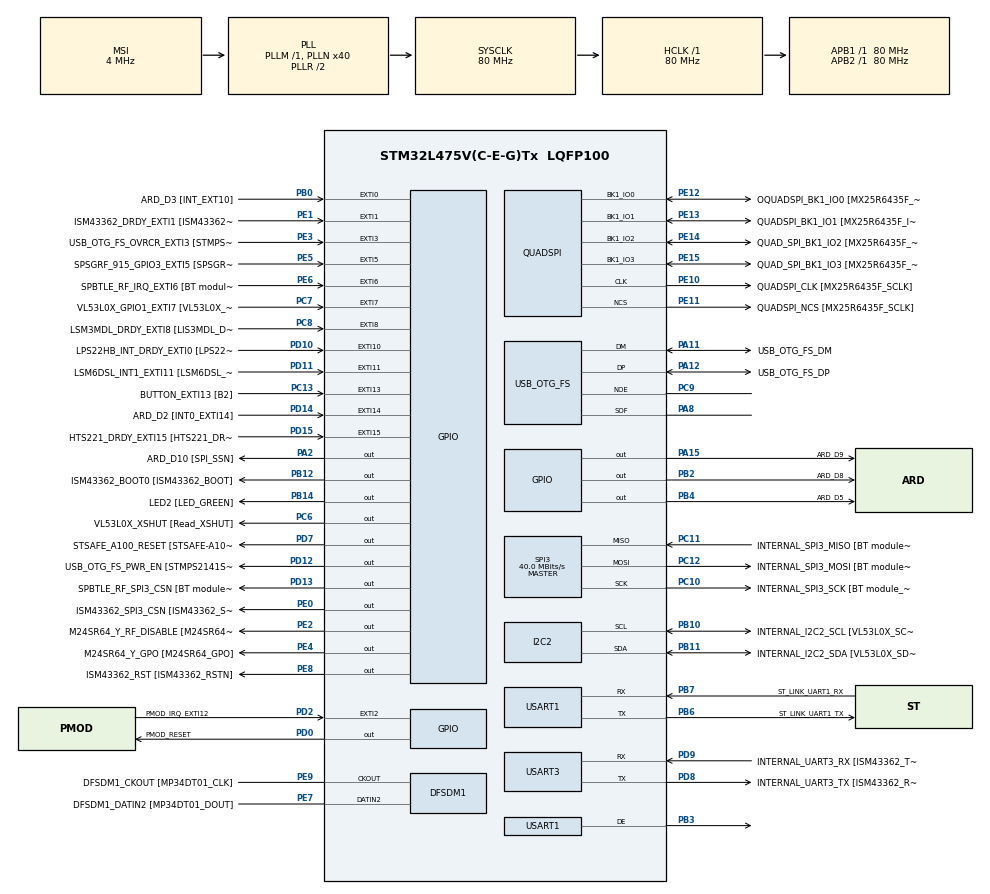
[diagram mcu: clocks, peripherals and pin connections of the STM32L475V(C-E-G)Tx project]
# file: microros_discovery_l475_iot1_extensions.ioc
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FREERTOS.Tasks01=defaultTask,24,3000,StartDefaultTask,Default,NULL,Static,defaultTaskBuffer,defaultTaskControlBlock
I2C2.Timing=0x10909CEC
Mcu.Family=STM32L4
Mcu.Name=STM32L475V(C-E-G)Tx
Mcu.Package=LQFP100
NVIC.EXTI15_10_IRQn=true\:5\:0\:false\:false\:true\:true\:true\:true\:true
NVIC.EXTI9_5_IRQn=true\:5\:0\:false\:false\:true\:true\:true\:true\:true
NVIC.PriorityGroup=NVIC_PRIORITYGROUP_4
NVIC.TIM1_UP_TIM16_IRQn=true\:15\:0\:false\:false\:true\:false\:false\:true\:true
NVIC.TimeBase=TIM1_UP_TIM16_IRQn
NVIC.TimeBaseIP=TIM1
PA0.GPIO_Label=ARD_D1 [UART4_TX]
PA0.Signal=UART4_TX
PA1.GPIO_Label=ARD_D0 [UART4_RX]
PA1.Signal=UART4_RX
PA10.GPIO_Label=USB_OTG_FS_ID
PA10.Signal=USB_OTG_FS_ID
PA11.GPIO_Label=USB_OTG_FS_DM
PA11.Mode=Device_Only
PA11.Signal=USB_OTG_FS_DM
PA12.GPIO_Label=USB_OTG_FS_DP
PA12.Mode=Device_Only
PA12.Signal=USB_OTG_FS_DP
PA13\ (JTMS-SWDIO).GPIO_Label=SYS_JTMS_SWDIO
PA13\ (JTMS-SWDIO).Mode=Serial_Wire
PA13\ (JTMS-SWDIO).Signal=SYS_JTMS-SWDIO
PA14\ (JTCK-SWCLK).GPIO_Label=SYS_JTCK_SWCLK
PA14\ (JTCK-SWCLK).Mode=Serial_Wire
PA14\ (JTCK-SWCLK).Signal=SYS_JTCK-SWCLK
PA15\ (JTDI).GPIO_Label=ARD_D9
PA15\ (JTDI).Signal=GPIO_Output
PA2.GPIO_Label=ARD_D10 [SPI_SSN]
PA2.Signal=GPIO_Output
PA3.GPIO_Label=ARD_D4
PA3.Signal=S_TIM2_CH4
PA4.GPIO_Label=ARD_D7
PA4.Signal=ADCx_IN9
PA5.GPIO_Label=ARD_D13 [SPI1_SCK]
PA5.Signal=SPI1_SCK
PA6.GPIO_Label=ARD_D12 [SPI1_MISO]
PA6.Signal=SPI1_MISO
PA7.GPIO_Label=ARD_D11 [SPI1_MOSI]
PA7.Signal=SPI1_MOSI
PA8.Mode=Activate_SOF_FS
PA8.Signal=USB_OTG_FS_SOF
PA9.GPIO_Label=USB_OTG_FS_VBUS [STMPS2141STR_OUT]
PA9.Signal=USB_OTG_FS_VBUS
PB0.GPIO_Label=ARD_D3 [INT_EXT10]
PB0.Signal=GPXTI0
PB1.GPIO_Label=ARD_D6 [ADC1_IN6]
PB1.Signal=ADCx_IN16
PB10.GPIO_Label=INTERNAL_I2C2_SCL [VL53L0X_SCL]
PB10.GPIO_Pu=GPIO_PULLUP
PB10.Mode=I2C
PB10.Signal=I2C2_SCL
PB11.GPIO_Label=INTERNAL_I2C2_SDA [VL53L0X_SDA]
PB11.GPIO_Pu=GPIO_PULLUP
PB11.Mode=I2C
PB11.Signal=I2C2_SDA
PB12.GPIO_Label=ISM43362_BOOT0 [ISM43362_BOOT]
PB12.Signal=GPIO_Output
PB13.Signal=TIM15_CH1N
PB14.GPIO_Label=LED2 [LED_GREEN]
PB14.Signal=GPIO_Output
PB15.Signal=S_TIM15_CH2
PB2.GPIO_Label=ARD_D8
PB2.Signal=GPIO_Output
PB3\ (JTDO-TRACESWO).Mode=Hardware Flow Control (RS485)
PB3\ (JTDO-TRACESWO).Signal=USART1_DE
PB4\ (NJTRST).GPIO_Label=ARD_D5
PB4\ (NJTRST).Signal=GPIO_Output
PB5.Signal=USART1_CK
PB6.GPIO_Label=ST_LINK_UART1_TX
PB6.Mode=Asynchronous
PB6.Signal=USART1_TX
PB7.GPIO_Label=ST_LINK_UART1_RX
PB7.Mode=Asynchronous
PB7.Signal=USART1_RX
PB8.GPIO_Label=ARD_D15 [I2C1_SCL]
PB8.Signal=I2C1_SCL
PB9.GPIO_Label=ARD_D14 [I2C1_SDA]
PB9.Signal=I2C1_SDA
PC0.GPIO_Label=ARD_A5 [ADC]
PC0.Signal=ADCx_IN1
PC1.GPIO_Label=ARD_A4 [ADC]
PC1.Signal=ADCx_IN2
PC10.GPIO_Label=INTERNAL_SPI3_SCK [BT module_SPI_SCLK] [ISM43362_SCK]
PC10.Mode=Full_Duplex_Master
PC10.Signal=SPI3_SCK
PC11.GPIO_Label=INTERNAL_SPI3_MISO [BT module_SPI_MISO] [ISM43362_MISO]
PC11.Mode=Full_Duplex_Master
PC11.Signal=SPI3_MISO
PC12.GPIO_Label=INTERNAL_SPI3_MOSI [BT module_SPI_MOSI] [ISM43362_MOSI]
PC12.Mode=Full_Duplex_Master
PC12.Signal=SPI3_MOSI
PC13.GPIO_Label=BUTTON_EXTI13 [B2]
PC13.GPIO_ModeDefaultEXTI=GPIO_MODE_IT_FALLING
PC13.Signal=GPXTI13
PC14-OSC32_IN\ (PC14).Mode=LSE-External-Oscillator
PC14-OSC32_IN\ (PC14).Signal=RCC_OSC32_IN
PC15-OSC32_OUT\ (PC15).Mode=LSE-External-Oscillator
PC15-OSC32_OUT\ (PC15).Signal=RCC_OSC32_OUT
PC2.GPIO_Label=ARD_A3 [ADC]
PC2.Signal=ADCx_IN3
PC3.GPIO_Label=ARD_A2 [ADC]
PC3.Signal=ADCx_IN4
PC4.GPIO_Label=ARD_A1 [ADC]
PC4.Signal=ADCx_IN13
PC5.GPIO_Label=ARD_A0 [ADC]
PC5.Signal=ADCx_IN14
PC6.GPIO_Label=VL53L0X_XSHUT [Read_XSHUT]
PC6.Signal=GPIO_Output
PC7.GPIO_Label=VL53L0X_GPIO1_EXTI7 [VL53L0X_GPIO1]
PC7.Signal=GPXTI7
PC8.GPIO_Label=LSM3MDL_DRDY_EXTI8 [LIS3MDL_DRDY]
PC8.Signal=GPXTI8
PC9.Mode=Activate_NOE
PC9.Signal=USB_OTG_FS_NOE
PD0.GPIO_Label=PMOD_RESET
PD0.Signal=GPIO_Output
PD1.GPIO_Label=PMOD_SPI2_SCK
PD1.Signal=SPI2_SCK
PD10.GPIO_Label=LPS22HB_INT_DRDY_EXTI0 [LPS22HB_INT_DRDY] 
PD10.Signal=GPXTI10
PD11.GPIO_Label=LSM6DSL_INT1_EXTI11 [LSM6DSL_INT1]
PD11.Signal=GPXTI11
PD12.GPIO_Label=USB_OTG_FS_PWR_EN [STMPS2141STR_EN]
PD12.Signal=GPIO_Output
PD13.GPIO_Label=SPBTLE_RF_SPI3_CSN [BT module_SPI_CS]
PD13.PinState=GPIO_PIN_SET
PD13.Signal=GPIO_Output
PD14.GPIO_Label=ARD_D2 [INT0_EXTI14]
PD14.Signal=GPXTI14
PD15.GPIO_Label=HTS221_DRDY_EXTI15 [HTS221_DRDY]
PD15.Signal=GPXTI15
PD2.GPIO_Label=PMOD_IRQ_EXTI12
PD2.Signal=GPXTI2
PD3.GPIO_Label=PMOD_UART2_CTS
PD3.Signal=USART2_CTS
PD4.GPIO_Label=PMOD_UART2_RTS
PD4.Signal=USART2_RTS
PD5.GPIO_Label=PMOD_UART2_TX
PD5.Signal=USART2_TX
PD6.GPIO_Label=PMOD_UART2_RX
PD6.Signal=USART2_RX
PD7.GPIO_Label=STSAFE_A100_RESET [STSAFE-A100_RESET]
PD7.Signal=GPIO_Output
PD8.GPIO_Label=INTERNAL_UART3_TX [ISM43362_RX]
PD8.Mode=Asynchronous
PD8.Signal=USART3_TX
PD9.GPIO_Label=INTERNAL_UART3_RX [ISM43362_TX]
PD9.Mode=Asynchronous
PD9.Signal=USART3_RX
PE0.GPIO_Label=ISM43362_SPI3_CSN [ISM43362_SSN]
PE0.PinState=GPIO_PIN_SET
PE0.Signal=GPIO_Output
PE1.GPIO_Label=ISM43362_DRDY_EXTI1 [ISM43362_DATARDY]
PE1.Signal=GPXTI1
PE10.GPIO_Label=QUADSPI_CLK [MX25R6435F_SCLK]
PE10.Mode=Single Bank
PE10.Signal=QUADSPI_CLK
PE11.GPIO_Label=QUADSPI_NCS [MX25R6435F_SCLK]
PE11.Mode=Single Bank
PE11.Signal=QUADSPI_NCS
PE12.GPIO_Label=OQUADSPI_BK1_IO0 [MX25R6435F_IO0]
PE12.Mode=Single Bank
PE12.Signal=QUADSPI_BK1_IO0
PE13.GPIO_Label=QUADSPI_BK1_IO1 [MX25R6435F_IO1]
PE13.Mode=Single Bank
PE13.Signal=QUADSPI_BK1_IO1
PE14.GPIO_Label=QUAD_SPI_BK1_IO2 [MX25R6435F_IO2]
PE14.Mode=Single Bank
PE14.Signal=QUADSPI_BK1_IO2
PE15.GPIO_Label=QUAD_SPI_BK1_IO3 [MX25R6435F_IO3]
PE15.Mode=Single Bank
PE15.Signal=QUADSPI_BK1_IO3
PE2.GPIO_Label=M24SR64_Y_RF_DISABLE [M24SR64_RFDIS]
PE2.Signal=GPIO_Output
PE3.GPIO_Label=USB_OTG_FS_OVRCR_EXTI3 [STMPS2141STR_FAULT]
PE3.Signal=GPXTI3
PE4.GPIO_Label=M24SR64_Y_GPO [M24SR64_GPO]
PE4.Signal=GPIO_Output
PE5.GPIO_Label=SPSGRF_915_GPIO3_EXTI5 [SPSGRF_GPIO_3]
PE5.Signal=GPXTI5
PE6.GPIO_Label=SPBTLE_RF_IRQ_EXTI6 [BT module_SPI_IRQ]
PE6.Signal=GPXTI6
PE7.GPIO_Label=DFSDM1_DATIN2 [MP34DT01_DOUT]
PE7.Signal=S_DATAIN2DFSDM1
PE8.GPIO_Label=ISM43362_RST [ISM43362_RSTN]
PE8.Signal=GPIO_Output
PE9.GPIO_Label=DFSDM1_CKOUT [MP34DT01_CLK]
PE9.Signal=S_CKOUTDFSDM1
ProjectManager.HeapSize=0x200
ProjectManager.StackSize=0x400
ProjectManager.TargetToolchain=Makefile
QUADSPI.ClockPrescaler=2
QUADSPI.FifoThreshold=4
QUADSPI.FlashSize=23
QUADSPI.SampleShifting=QSPI_SAMPLE_SHIFTING_HALFCYCLE
RCC.ADCFreq_Value=48000000
RCC.AHBFreq_Value=80000000
RCC.APB1Freq_Value=80000000
RCC.APB1TimFreq_Value=80000000
RCC.APB2Freq_Value=80000000
RCC.APB2TimFreq_Value=80000000
RCC.CortexFreq_Value=80000000
RCC.HCLKFreq_Value=80000000
RCC.HSE_VALUE=8000000
RCC.HSI_VALUE=16000000
RCC.MSI_VALUE=4000000
RCC.PLLN=40
RCC.PLLSAI1N=24
RCC.SYSCLKFreq_VALUE=80000000
RCC.SYSCLKSource=RCC_SYSCLKSOURCE_PLLCLK
RCC.USBFreq_Value=48000000
RCC.VCOOutputFreq_Value=160000000
SH.ADCx_IN1.0=ADC1_IN1
SH.ADCx_IN13.0=ADC1_IN13
SH.ADCx_IN14.0=ADC1_IN14
SH.ADCx_IN16.0=ADC1_IN16
SH.ADCx_IN2.0=ADC1_IN2
SH.ADCx_IN3.0=ADC1_IN3
SH.ADCx_IN4.0=ADC1_IN4
SH.ADCx_IN9.0=ADC1_IN9
SH.S_CKOUTDFSDM1.0=DFSDM1_CKOUT,CKOUT
SH.S_CKOUTDFSDM1.1=DFSDM1_CKOUT,PDM_SPI_Input_from_ch12_and_Internal_Clock
SH.S_DATAIN2DFSDM1.0=DFSDM1_DATIN2,PDM_SPI_Input_from_ch12_and_Internal_Clock
SH.S_TIM15_CH2.0=TIM15_CH2
SH.S_TIM2_CH4.0=TIM2_CH4
SPI3.CalculateBaudRate=40.0 MBits/s
SPI3.Direction=SPI_DIRECTION_2LINES
SPI3.Mode=SPI_MODE_MASTER
SPI3.VirtualType=VM_MASTER
USART1.VirtualMode-Asynchronous=VM_ASYNC
USART1.VirtualMode-Hardware\ Flow\ Control\ (RS485)=VM_ASYNC
USART3.VirtualMode-Asynchronous=VM_ASYNC
USB_OTG_FS.VirtualMode=Device_Only
VP_FREERTOS_VS_CMSIS_V2.Mode=CMSIS_V2
VP_SYS_VS_tim1.Mode=TIM1
board=B-L475E-IOT01A1

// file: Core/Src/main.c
/* USER CODE BEGIN Header */
/**
  ******************************************************************************
  * @file           : main.c
  * @brief          : Main program body
  ******************************************************************************
  * @attention
  *
  * Copyright (c) 2022 STMicroelectronics.
  * All rights reserved.
  *
  * This software is licensed under terms that can be found in the LICENSE file
  * in the root directory of this software component.
  * If no LICENSE file comes with this software, it is provided AS-IS.
  *
  ******************************************************************************
  */
/* USER CODE END Header */
#include "main.h"
#include "cmsis_os.h"

/* USER CODE BEGIN Includes */                                                      // added
#include "stm32l4xx_hal.h"
#include <allocators.h> //needs to be in src folder
#include <rcl/rcl.h>
#include <uxr/client/client.h>
#include <ucdr/microcdr.h>

#include <rmw_microros/rmw_microros.h>

#include <microros_transports.h>

#include <sys/socket.h>
// #include <ip_addr.h> // related to lwip so not needed
#include "FreeRTOS.h"
#include "task.h"

#include <rmw_microxrcedds_c/config.h>
/* USER CODE END Includes */

typedef StaticTask_t osStaticThreadDef_t;

 DFSDM_Channel_HandleTypeDef hdfsdm1_channel1;

I2C_HandleTypeDef hi2c2;

QSPI_HandleTypeDef hqspi;

SPI_HandleTypeDef hspi3;

UART_HandleTypeDef huart1;
UART_HandleTypeDef huart3;

PCD_HandleTypeDef hpcd_USB_OTG_FS;

/* Definitions for defaultTask */
osThreadId_t defaultTaskHandle;
uint32_t defaultTaskBuffer[ 3000 ];
osStaticThreadDef_t defaultTaskControlBlock;
const osThreadAttr_t defaultTask_attributes = {
  .name = "defaultTask",
  .cb_mem = &defaultTaskControlBlock,
  .cb_size = sizeof(defaultTaskControlBlock),
  .stack_mem = &defaultTaskBuffer[0],
  .stack_size = sizeof(defaultTaskBuffer),
  .priority = (osPriority_t) osPriorityNormal,
};

void SystemClock_Config(void);
static void MX_GPIO_Init(void);
static void MX_DFSDM1_Init(void);
static void MX_I2C2_Init(void);
static void MX_QUADSPI_Init(void);
static void MX_SPI3_Init(void);
static void MX_USART1_UART_Init(void);
static void MX_USART3_UART_Init(void);
static void MX_USB_OTG_FS_PCD_Init(void);
void StartDefaultTask(void *argument);

/* USER CODE BEGIN PFP */                                                                      // added
#define BUFSIZE 4096
char buffer[BUFSIZE];
extern struct netif gnetif;
UART_HandleTypeDef * printf_uart = NULL;
/* USER CODE END PFP */

/* USER CODE BEGIN 0 */                                                                     //added
int __io_putchar(int ch)
{
  uint8_t c[1];
  c[0] = ch & 0x00FF;
  if (printf_uart != NULL){
     HAL_UART_Transmit(printf_uart, &c[0], 1, 10);
  }
  return ch;
}

int _write(int file,char *ptr, int len)
{
  int DataIdx;
  for(DataIdx= 0; DataIdx< len; DataIdx++){
  __io_putchar(*ptr++);
  }
  return len;
}
/* USER CODE END 0 */

int main(void)
{

  /* MCU Configuration--------------------------------------------------------*/

  /* Reset of all peripherals, Initializes the Flash interface and the Systick. */
  HAL_Init();

  /* Configure the system clock */
  SystemClock_Config();

  /* Initialize all configured peripherals */
  MX_GPIO_Init();
  MX_DFSDM1_Init();
  MX_I2C2_Init();
  MX_QUADSPI_Init();
  MX_SPI3_Init();
  MX_USART1_UART_Init();
  MX_USART3_UART_Init();
  MX_USB_OTG_FS_PCD_Init();
  /* USER CODE BEGIN 2 */                                                                 //added
  #ifdef RMW_UXRCE_TRANSPORT_UDP
    printf_uart = &huart3;
  #elif defined(RMW_UXRCE_TRANSPORT_CUSTOM)
    printf_uart = &huart6;
  #endif
  /* USER CODE END 2 */

  /* Init scheduler */
  osKernelInitialize();

  /* Create the thread(s) */
  /* creation of defaultTask */
  defaultTaskHandle = osThreadNew(StartDefaultTask, NULL, &defaultTask_attributes);

  /* Start scheduler */
  osKernelStart();

  /* We should never get here as control is now taken by the scheduler */
  /* Infinite loop */
  while (1)
  {

  }
}

void SystemClock_Config(void)
{
  RCC_OscInitTypeDef RCC_OscInitStruct = {0};
  RCC_ClkInitTypeDef RCC_ClkInitStruct = {0};

  /** Configure the main internal regulator output voltage
  */
  if (HAL_PWREx_ControlVoltageScaling(PWR_REGULATOR_VOLTAGE_SCALE1) != HAL_OK)
  {
    Error_Handler();
  }

  /** Configure LSE Drive Capability
  */
  HAL_PWR_EnableBkUpAccess();
  __HAL_RCC_LSEDRIVE_CONFIG(RCC_LSEDRIVE_LOW);

  /** Initializes the RCC Oscillators according to the specified parameters
  * in the RCC_OscInitTypeDef structure.
  */
  RCC_OscInitStruct.OscillatorType = RCC_OSCILLATORTYPE_LSE|RCC_OSCILLATORTYPE_MSI;
  RCC_OscInitStruct.LSEState = RCC_LSE_ON;
  RCC_OscInitStruct.MSIState = RCC_MSI_ON;
  RCC_OscInitStruct.MSICalibrationValue = 0;
  RCC_OscInitStruct.MSIClockRange = RCC_MSIRANGE_6;
  RCC_OscInitStruct.PLL.PLLState = RCC_PLL_ON;
  RCC_OscInitStruct.PLL.PLLSource = RCC_PLLSOURCE_MSI;
  RCC_OscInitStruct.PLL.PLLM = 1;
  RCC_OscInitStruct.PLL.PLLN = 40;
  RCC_OscInitStruct.PLL.PLLP = RCC_PLLP_DIV7;
  RCC_OscInitStruct.PLL.PLLQ = RCC_PLLQ_DIV2;
  RCC_OscInitStruct.PLL.PLLR = RCC_PLLR_DIV2;
  if (HAL_RCC_OscConfig(&RCC_OscInitStruct) != HAL_OK)
  {
    Error_Handler();
  }

  /** Initializes the CPU, AHB and APB buses clocks
  */
  RCC_ClkInitStruct.ClockType = RCC_CLOCKTYPE_HCLK|RCC_CLOCKTYPE_SYSCLK
                              |RCC_CLOCKTYPE_PCLK1|RCC_CLOCKTYPE_PCLK2;
  RCC_ClkInitStruct.SYSCLKSource = RCC_SYSCLKSOURCE_PLLCLK;
  RCC_ClkInitStruct.AHBCLKDivider = RCC_SYSCLK_DIV1;
  RCC_ClkInitStruct.APB1CLKDivider = RCC_HCLK_DIV1;
  RCC_ClkInitStruct.APB2CLKDivider = RCC_HCLK_DIV1;

  if (HAL_RCC_ClockConfig(&RCC_ClkInitStruct, FLASH_LATENCY_4) != HAL_OK)
  {
    Error_Handler();
  }

  /** Enable MSI Auto calibration
  */
  HAL_RCCEx_EnableMSIPLLMode();
}

static void MX_DFSDM1_Init(void)
{

  hdfsdm1_channel1.Instance = DFSDM1_Channel1;
  hdfsdm1_channel1.Init.OutputClock.Activation = ENABLE;
  hdfsdm1_channel1.Init.OutputClock.Selection = DFSDM_CHANNEL_OUTPUT_CLOCK_SYSTEM;
  hdfsdm1_channel1.Init.OutputClock.Divider = 2;
  hdfsdm1_channel1.Init.Input.Multiplexer = DFSDM_CHANNEL_EXTERNAL_INPUTS;
  hdfsdm1_channel1.Init.Input.DataPacking = DFSDM_CHANNEL_STANDARD_MODE;
  hdfsdm1_channel1.Init.Input.Pins = DFSDM_CHANNEL_FOLLOWING_CHANNEL_PINS;
  hdfsdm1_channel1.Init.SerialInterface.Type = DFSDM_CHANNEL_SPI_RISING;
  hdfsdm1_channel1.Init.SerialInterface.SpiClock = DFSDM_CHANNEL_SPI_CLOCK_INTERNAL;
  hdfsdm1_channel1.Init.Awd.FilterOrder = DFSDM_CHANNEL_FASTSINC_ORDER;
  hdfsdm1_channel1.Init.Awd.Oversampling = 1;
  hdfsdm1_channel1.Init.Offset = 0;
  hdfsdm1_channel1.Init.RightBitShift = 0x00;
  if (HAL_DFSDM_ChannelInit(&hdfsdm1_channel1) != HAL_OK)
  {
    Error_Handler();
  }

}

static void MX_I2C2_Init(void)
{

  hi2c2.Instance = I2C2;
  hi2c2.Init.Timing = 0x10909CEC;
  hi2c2.Init.OwnAddress1 = 0;
  hi2c2.Init.AddressingMode = I2C_ADDRESSINGMODE_7BIT;
  hi2c2.Init.DualAddressMode = I2C_DUALADDRESS_DISABLE;
  hi2c2.Init.OwnAddress2 = 0;
  hi2c2.Init.OwnAddress2Masks = I2C_OA2_NOMASK;
  hi2c2.Init.GeneralCallMode = I2C_GENERALCALL_DISABLE;
  hi2c2.Init.NoStretchMode = I2C_NOSTRETCH_DISABLE;
  if (HAL_I2C_Init(&hi2c2) != HAL_OK)
  {
    Error_Handler();
  }

  /** Configure Analogue filter
  */
  if (HAL_I2CEx_ConfigAnalogFilter(&hi2c2, I2C_ANALOGFILTER_ENABLE) != HAL_OK)
  {
    Error_Handler();
  }

  /** Configure Digital filter
  */
  if (HAL_I2CEx_ConfigDigitalFilter(&hi2c2, 0) != HAL_OK)
  {
    Error_Handler();
  }

}

static void MX_QUADSPI_Init(void)
{

  /* QUADSPI parameter configuration*/
  hqspi.Instance = QUADSPI;
  hqspi.Init.ClockPrescaler = 2;
  hqspi.Init.FifoThreshold = 4;
  hqspi.Init.SampleShifting = QSPI_SAMPLE_SHIFTING_HALFCYCLE;
  hqspi.Init.FlashSize = 23;
  hqspi.Init.ChipSelectHighTime = QSPI_CS_HIGH_TIME_1_CYCLE;
  hqspi.Init.ClockMode = QSPI_CLOCK_MODE_0;
  if (HAL_QSPI_Init(&hqspi) != HAL_OK)
  {
    Error_Handler();
  }

}

static void MX_SPI3_Init(void)
{

  /* SPI3 parameter configuration*/
  hspi3.Instance = SPI3;
  hspi3.Init.Mode = SPI_MODE_MASTER;
  hspi3.Init.Direction = SPI_DIRECTION_2LINES;
  hspi3.Init.DataSize = SPI_DATASIZE_4BIT;
  hspi3.Init.CLKPolarity = SPI_POLARITY_LOW;
  hspi3.Init.CLKPhase = SPI_PHASE_1EDGE;
  hspi3.Init.NSS = SPI_NSS_SOFT;
  hspi3.Init.BaudRatePrescaler = SPI_BAUDRATEPRESCALER_2;
  hspi3.Init.FirstBit = SPI_FIRSTBIT_MSB;
  hspi3.Init.TIMode = SPI_TIMODE_DISABLE;
  hspi3.Init.CRCCalculation = SPI_CRCCALCULATION_DISABLE;
  hspi3.Init.CRCPolynomial = 7;
  hspi3.Init.CRCLength = SPI_CRC_LENGTH_DATASIZE;
  hspi3.Init.NSSPMode = SPI_NSS_PULSE_ENABLE;
  if (HAL_SPI_Init(&hspi3) != HAL_OK)
  {
    Error_Handler();
  }

}

static void MX_USART1_UART_Init(void)
{

  huart1.Instance = USART1;
  huart1.Init.BaudRate = 115200;
  huart1.Init.WordLength = UART_WORDLENGTH_8B;
  huart1.Init.StopBits = UART_STOPBITS_1;
  huart1.Init.Parity = UART_PARITY_NONE;
  huart1.Init.Mode = UART_MODE_TX_RX;
  huart1.Init.HwFlowCtl = UART_HWCONTROL_NONE;
  huart1.Init.OverSampling = UART_OVERSAMPLING_16;
  huart1.Init.OneBitSampling = UART_ONE_BIT_SAMPLE_DISABLE;
  huart1.AdvancedInit.AdvFeatureInit = UART_ADVFEATURE_NO_INIT;
  if (HAL_RS485Ex_Init(&huart1, UART_DE_POLARITY_HIGH, 0, 0) != HAL_OK)
  {
    Error_Handler();
  }

}

static void MX_USART3_UART_Init(void)
{

  huart3.Instance = USART3;
  huart3.Init.BaudRate = 115200;
  huart3.Init.WordLength = UART_WORDLENGTH_8B;
  huart3.Init.StopBits = UART_STOPBITS_1;
  huart3.Init.Parity = UART_PARITY_NONE;
  huart3.Init.Mode = UART_MODE_TX_RX;
  huart3.Init.HwFlowCtl = UART_HWCONTROL_NONE;
  huart3.Init.OverSampling = UART_OVERSAMPLING_16;
  huart3.Init.OneBitSampling = UART_ONE_BIT_SAMPLE_DISABLE;
  huart3.AdvancedInit.AdvFeatureInit = UART_ADVFEATURE_NO_INIT;
  if (HAL_UART_Init(&huart3) != HAL_OK)
  {
    Error_Handler();
  }

}

static void MX_USB_OTG_FS_PCD_Init(void)
{

  hpcd_USB_OTG_FS.Instance = USB_OTG_FS;
  hpcd_USB_OTG_FS.Init.dev_endpoints = 6;
  hpcd_USB_OTG_FS.Init.speed = PCD_SPEED_FULL;
  hpcd_USB_OTG_FS.Init.phy_itface = PCD_PHY_EMBEDDED;
  hpcd_USB_OTG_FS.Init.Sof_enable = ENABLE;
  hpcd_USB_OTG_FS.Init.low_power_enable = DISABLE;
  hpcd_USB_OTG_FS.Init.lpm_enable = DISABLE;
  hpcd_USB_OTG_FS.Init.battery_charging_enable = DISABLE;
  hpcd_USB_OTG_FS.Init.use_dedicated_ep1 = DISABLE;
  hpcd_USB_OTG_FS.Init.vbus_sensing_enable = DISABLE;
  if (HAL_PCD_Init(&hpcd_USB_OTG_FS) != HAL_OK)
  {
    Error_Handler();
  }

}

static void MX_GPIO_Init(void)
{
  GPIO_InitTypeDef GPIO_InitStruct = {0};

  /* GPIO Ports Clock Enable */
  __HAL_RCC_GPIOE_CLK_ENABLE();
  __HAL_RCC_GPIOC_CLK_ENABLE();
  __HAL_RCC_GPIOA_CLK_ENABLE();
  __HAL_RCC_GPIOB_CLK_ENABLE();
  __HAL_RCC_GPIOD_CLK_ENABLE();

  /*Configure GPIO pin Output Level */
  HAL_GPIO_WritePin(GPIOE, M24SR64_Y_RF_DISABLE_Pin|M24SR64_Y_GPO_Pin|ISM43362_RST_Pin, GPIO_PIN_RESET);

  /*Configure GPIO pin Output Level */
  HAL_GPIO_WritePin(GPIOA, ARD_D10_Pin|ARD_D9_Pin, GPIO_PIN_RESET);

  /*Configure GPIO pin Output Level */
  HAL_GPIO_WritePin(GPIOB, ARD_D8_Pin|ISM43362_BOOT0_Pin|LED2_Pin|ARD_D5_Pin, GPIO_PIN_RESET);

  /*Configure GPIO pin Output Level */
  HAL_GPIO_WritePin(GPIOD, USB_OTG_FS_PWR_EN_Pin|PMOD_RESET_Pin|STSAFE_A100_RESET_Pin, GPIO_PIN_RESET);

  /*Configure GPIO pin Output Level */
  HAL_GPIO_WritePin(SPBTLE_RF_SPI3_CSN_GPIO_Port, SPBTLE_RF_SPI3_CSN_Pin, GPIO_PIN_SET);

  /*Configure GPIO pin Output Level */
  HAL_GPIO_WritePin(VL53L0X_XSHUT_GPIO_Port, VL53L0X_XSHUT_Pin, GPIO_PIN_RESET);

  /*Configure GPIO pin Output Level */
  HAL_GPIO_WritePin(ISM43362_SPI3_CSN_GPIO_Port, ISM43362_SPI3_CSN_Pin, GPIO_PIN_SET);

  /*Configure GPIO pins : M24SR64_Y_RF_DISABLE_Pin M24SR64_Y_GPO_Pin ISM43362_RST_Pin ISM43362_SPI3_CSN_Pin */
  GPIO_InitStruct.Pin = M24SR64_Y_RF_DISABLE_Pin|M24SR64_Y_GPO_Pin|ISM43362_RST_Pin|ISM43362_SPI3_CSN_Pin;
  GPIO_InitStruct.Mode = GPIO_MODE_OUTPUT_PP;
  GPIO_InitStruct.Pull = GPIO_NOPULL;
  GPIO_InitStruct.Speed = GPIO_SPEED_FREQ_LOW;
  HAL_GPIO_Init(GPIOE, &GPIO_InitStruct);

  /*Configure GPIO pins : USB_OTG_FS_OVRCR_EXTI3_Pin SPSGRF_915_GPIO3_EXTI5_Pin SPBTLE_RF_IRQ_EXTI6_Pin ISM43362_DRDY_EXTI1_Pin */
  GPIO_InitStruct.Pin = USB_OTG_FS_OVRCR_EXTI3_Pin|SPSGRF_915_GPIO3_EXTI5_Pin|SPBTLE_RF_IRQ_EXTI6_Pin|ISM43362_DRDY_EXTI1_Pin;
  GPIO_InitStruct.Mode = GPIO_MODE_IT_RISING;
  GPIO_InitStruct.Pull = GPIO_NOPULL;
  HAL_GPIO_Init(GPIOE, &GPIO_InitStruct);

  /*Configure GPIO pin : BUTTON_EXTI13_Pin */
  GPIO_InitStruct.Pin = BUTTON_EXTI13_Pin;
  GPIO_InitStruct.Mode = GPIO_MODE_IT_FALLING;
  GPIO_InitStruct.Pull = GPIO_NOPULL;
  HAL_GPIO_Init(BUTTON_EXTI13_GPIO_Port, &GPIO_InitStruct);

  /*Configure GPIO pins : ARD_A5_Pin ARD_A4_Pin ARD_A3_Pin ARD_A2_Pin
                           ARD_A1_Pin ARD_A0_Pin */
  GPIO_InitStruct.Pin = ARD_A5_Pin|ARD_A4_Pin|ARD_A3_Pin|ARD_A2_Pin
                          |ARD_A1_Pin|ARD_A0_Pin;
  GPIO_InitStruct.Mode = GPIO_MODE_ANALOG_ADC_CONTROL;
  GPIO_InitStruct.Pull = GPIO_NOPULL;
  HAL_GPIO_Init(GPIOC, &GPIO_InitStruct);

  /*Configure GPIO pins : ARD_D1_Pin ARD_D0_Pin */
  GPIO_InitStruct.Pin = ARD_D1_Pin|ARD_D0_Pin;
  GPIO_InitStruct.Mode = GPIO_MODE_AF_PP;
  GPIO_InitStruct.Pull = GPIO_NOPULL;
  GPIO_InitStruct.Speed = GPIO_SPEED_FREQ_VERY_HIGH;
  GPIO_InitStruct.Alternate = GPIO_AF8_UART4;
  HAL_GPIO_Init(GPIOA, &GPIO_InitStruct);

  /*Configure GPIO pins : ARD_D10_Pin ARD_D9_Pin */
  GPIO_InitStruct.Pin = ARD_D10_Pin|ARD_D9_Pin;
  GPIO_InitStruct.Mode = GPIO_MODE_OUTPUT_PP;
  GPIO_InitStruct.Pull = GPIO_NOPULL;
  GPIO_InitStruct.Speed = GPIO_SPEED_FREQ_LOW;
  HAL_GPIO_Init(GPIOA, &GPIO_InitStruct);

  /*Configure GPIO pin : ARD_D4_Pin */
  GPIO_InitStruct.Pin = ARD_D4_Pin;
  GPIO_InitStruct.Mode = GPIO_MODE_AF_PP;
  GPIO_InitStruct.Pull = GPIO_NOPULL;
  GPIO_InitStruct.Speed = GPIO_SPEED_FREQ_LOW;
  GPIO_InitStruct.Alternate = GPIO_AF1_TIM2;
  HAL_GPIO_Init(ARD_D4_GPIO_Port, &GPIO_InitStruct);

  /*Configure GPIO pin : ARD_D7_Pin */
  GPIO_InitStruct.Pin = ARD_D7_Pin;
  GPIO_InitStruct.Mode = GPIO_MODE_ANALOG_ADC_CONTROL;
  GPIO_InitStruct.Pull = GPIO_NOPULL;
  HAL_GPIO_Init(ARD_D7_GPIO_Port, &GPIO_InitStruct);

  /*Configure GPIO pins : ARD_D13_Pin ARD_D12_Pin ARD_D11_Pin */
  GPIO_InitStruct.Pin = ARD_D13_Pin|ARD_D12_Pin|ARD_D11_Pin;
  GPIO_InitStruct.Mode = GPIO_MODE_AF_PP;
  GPIO_InitStruct.Pull = GPIO_NOPULL;
  GPIO_InitStruct.Speed = GPIO_SPEED_FREQ_VERY_HIGH;
  GPIO_InitStruct.Alternate = GPIO_AF5_SPI1;
  HAL_GPIO_Init(GPIOA, &GPIO_InitStruct);

  /*Configure GPIO pin : ARD_D3_Pin */
  GPIO_InitStruct.Pin = ARD_D3_Pin;
  GPIO_InitStruct.Mode = GPIO_MODE_IT_RISING;
  GPIO_InitStruct.Pull = GPIO_NOPULL;
  HAL_GPIO_Init(ARD_D3_GPIO_Port, &GPIO_InitStruct);

  /*Configure GPIO pin : ARD_D6_Pin */
  GPIO_InitStruct.Pin = ARD_D6_Pin;
  GPIO_InitStruct.Mode = GPIO_MODE_ANALOG_ADC_CONTROL;
  GPIO_InitStruct.Pull = GPIO_NOPULL;
  HAL_GPIO_Init(ARD_D6_GPIO_Port, &GPIO_InitStruct);

  /*Configure GPIO pins : ARD_D8_Pin ISM43362_BOOT0_Pin LED2_Pin ARD_D5_Pin */
  GPIO_InitStruct.Pin = ARD_D8_Pin|ISM43362_BOOT0_Pin|LED2_Pin|ARD_D5_Pin;
  GPIO_InitStruct.Mode = GPIO_MODE_OUTPUT_PP;
  GPIO_InitStruct.Pull = GPIO_NOPULL;
  GPIO_InitStruct.Speed = GPIO_SPEED_FREQ_LOW;
  HAL_GPIO_Init(GPIOB, &GPIO_InitStruct);

  /*Configure GPIO pins : PB13 PB15 */
  GPIO_InitStruct.Pin = GPIO_PIN_13|GPIO_PIN_15;
  GPIO_InitStruct.Mode = GPIO_MODE_AF_PP;
  GPIO_InitStruct.Pull = GPIO_NOPULL;
  GPIO_InitStruct.Speed = GPIO_SPEED_FREQ_LOW;
  GPIO_InitStruct.Alternate = GPIO_AF14_TIM15;
  HAL_GPIO_Init(GPIOB, &GPIO_InitStruct);

  /*Configure GPIO pins : LPS22HB_INT_DRDY_EXTI0_Pin LSM6DSL_INT1_EXTI11_Pin ARD_D2_Pin HTS221_DRDY_EXTI15_Pin
                           PMOD_IRQ_EXTI12_Pin */
  GPIO_InitStruct.Pin = LPS22HB_INT_DRDY_EXTI0_Pin|LSM6DSL_INT1_EXTI11_Pin|ARD_D2_Pin|HTS221_DRDY_EXTI15_Pin
                          |PMOD_IRQ_EXTI12_Pin;
  GPIO_InitStruct.Mode = GPIO_MODE_IT_RISING;
  GPIO_InitStruct.Pull = GPIO_NOPULL;
  HAL_GPIO_Init(GPIOD, &GPIO_InitStruct);

  /*Configure GPIO pins : USB_OTG_FS_PWR_EN_Pin SPBTLE_RF_SPI3_CSN_Pin PMOD_RESET_Pin STSAFE_A100_RESET_Pin */
  GPIO_InitStruct.Pin = USB_OTG_FS_PWR_EN_Pin|SPBTLE_RF_SPI3_CSN_Pin|PMOD_RESET_Pin|STSAFE_A100_RESET_Pin;
  GPIO_InitStruct.Mode = GPIO_MODE_OUTPUT_PP;
  GPIO_InitStruct.Pull = GPIO_NOPULL;
  GPIO_InitStruct.Speed = GPIO_SPEED_FREQ_LOW;
  HAL_GPIO_Init(GPIOD, &GPIO_InitStruct);

  /*Configure GPIO pin : VL53L0X_XSHUT_Pin */
  GPIO_InitStruct.Pin = VL53L0X_XSHUT_Pin;
  GPIO_InitStruct.Mode = GPIO_MODE_OUTPUT_PP;
  GPIO_InitStruct.Pull = GPIO_NOPULL;
  GPIO_InitStruct.Speed = GPIO_SPEED_FREQ_LOW;
  HAL_GPIO_Init(VL53L0X_XSHUT_GPIO_Port, &GPIO_InitStruct);

  /*Configure GPIO pins : VL53L0X_GPIO1_EXTI7_Pin LSM3MDL_DRDY_EXTI8_Pin */
  GPIO_InitStruct.Pin = VL53L0X_GPIO1_EXTI7_Pin|LSM3MDL_DRDY_EXTI8_Pin;
  GPIO_InitStruct.Mode = GPIO_MODE_IT_RISING;
  GPIO_InitStruct.Pull = GPIO_NOPULL;
  HAL_GPIO_Init(GPIOC, &GPIO_InitStruct);

  /*Configure GPIO pin : PMOD_SPI2_SCK_Pin */
  GPIO_InitStruct.Pin = PMOD_SPI2_SCK_Pin;
  GPIO_InitStruct.Mode = GPIO_MODE_AF_PP;
  GPIO_InitStruct.Pull = GPIO_NOPULL;
  GPIO_InitStruct.Speed = GPIO_SPEED_FREQ_VERY_HIGH;
  GPIO_InitStruct.Alternate = GPIO_AF5_SPI2;
  HAL_GPIO_Init(PMOD_SPI2_SCK_GPIO_Port, &GPIO_InitStruct);

  /*Configure GPIO pins : PMOD_UART2_CTS_Pin PMOD_UART2_RTS_Pin PMOD_UART2_TX_Pin PMOD_UART2_RX_Pin */
  GPIO_InitStruct.Pin = PMOD_UART2_CTS_Pin|PMOD_UART2_RTS_Pin|PMOD_UART2_TX_Pin|PMOD_UART2_RX_Pin;
  GPIO_InitStruct.Mode = GPIO_MODE_AF_PP;
  GPIO_InitStruct.Pull = GPIO_NOPULL;
  GPIO_InitStruct.Speed = GPIO_SPEED_FREQ_VERY_HIGH;
  GPIO_InitStruct.Alternate = GPIO_AF7_USART2;
  HAL_GPIO_Init(GPIOD, &GPIO_InitStruct);

  /*Configure GPIO pins : ARD_D15_Pin ARD_D14_Pin */
  GPIO_InitStruct.Pin = ARD_D15_Pin|ARD_D14_Pin;
  GPIO_InitStruct.Mode = GPIO_MODE_AF_OD;
  GPIO_InitStruct.Pull = GPIO_NOPULL;
  GPIO_InitStruct.Speed = GPIO_SPEED_FREQ_VERY_HIGH;
  GPIO_InitStruct.Alternate = GPIO_AF4_I2C1;
  HAL_GPIO_Init(GPIOB, &GPIO_InitStruct);

  /* EXTI interrupt init*/
  HAL_NVIC_SetPriority(EXTI9_5_IRQn, 5, 0);
  HAL_NVIC_EnableIRQ(EXTI9_5_IRQn);

  HAL_NVIC_SetPriority(EXTI15_10_IRQn, 5, 0);
  HAL_NVIC_EnableIRQ(EXTI15_10_IRQn);

}

void StartDefaultTask(void *argument)
{
  /* USER CODE BEGIN 5 */
  // HAL_GPIO_WritePin(USB_PowerSwitchOn_GPIO_Port, USB_PowerSwitchOn_Pin, GPIO_PIN_RESET);
  // HAL_GPIO_WritePin(usb_powe,, GPIO_PIN_RESET);  the reson for commenting is that i have a default configuration already
  // hal_gpio is specific for every microcontroller
  bool availableNetwork = false;

#ifdef RMW_UXRCE_TRANSPORT_CUSTOM
  availableNetwork = true;
  rmw_uros_set_custom_transport(
    true,
    (void *) &huart3,
    freertos_serial_open,
    freertos_serial_close,
    freertos_serial_write,
    freertos_serial_read);
#elif defined(RMW_UXRCE_TRANSPORT_UDP)
  printf("Ethernet Initialization\r\n");

	//Waiting for an IP
  printf("Waiting for IP\r\n");
  int retries = 0;
	while(gnetif.ip_addr.addr == 0 && retries < 10){
    osDelay(500);
    retries++;
  };

  availableNetwork = (gnetif.ip_addr.addr != 0);
  if (availableNetwork){
    printf("IP: %s\r\n",ip4addr_ntoa(&gnetif.ip_addr));
  }else{
    printf("Impossible to retrieve an IP\n");
  }
#endif

  // Launch app thread when IP configured
  rcl_allocator_t freeRTOS_allocator = rcutils_get_zero_initialized_allocator();
  freeRTOS_allocator.allocate = __freertos_allocate;
  freeRTOS_allocator.deallocate = __freertos_deallocate;
  freeRTOS_allocator.reallocate = __freertos_reallocate;
  freeRTOS_allocator.zero_allocate = __freertos_zero_allocate;

  if (!rcutils_set_default_allocator(&freeRTOS_allocator)) {
      printf("Error on default allocators (line %d)\n",__LINE__);
  }

  osThreadAttr_t attributes;
  memset(&attributes, 0x0, sizeof(osThreadAttr_t));
  attributes.name = "microROS_app";
  attributes.stack_size = 4*3000;
  attributes.priority = (osPriority_t) osPriorityNormal1;
  osThreadNew(appMain, NULL, &attributes);

  osDelay(500);
  char ptrTaskList[500];
  vTaskList(ptrTaskList);
  printf("**********************************\n");
  printf("Task  State   Prio    Stack    Num\n");
  printf("**********************************\n");
  printf(ptrTaskList);
  printf("**********************************\n");

  TaskHandle_t xHandle;
  xHandle = xTaskGetHandle("microROS_app");

  while (1){
    // led blinking related code
    if (eTaskGetState(xHandle) != eSuspended && availableNetwork){
      HAL_GPIO_WritePin(GPIOP, GPIO_PIN_14, GPIO_PIN_RESET);
      osDelay(100);
      HAL_GPIO_WritePin(GPIOP, GPIO_PIN_14, GPIO_PIN_SET);
      osDelay(100);
      HAL_GPIO_WritePin(GPIOP, GPIO_PIN_14, GPIO_PIN_RESET);
      osDelay(150);
      HAL_GPIO_WritePin(GPIOP, GPIO_PIN_14, GPIO_PIN_SET);
      osDelay(500);
    }else{
      HAL_GPIO_WritePin(GPIOP, GPIO_PIN_14, GPIO_PIN_RESET);
      osDelay(1000);
      HAL_GPIO_WritePin(GPIOP, GPIO_PIN_14, GPIO_PIN_SET);
      osDelay(1000);
    }

  /* USER CODE END 5 */
}

void HAL_TIM_PeriodElapsedCallback(TIM_HandleTypeDef *htim)
{
  if (htim->Instance == TIM1) {
    HAL_IncTick();
  }
}

void Error_Handler(void)
{
  __disable_irq();
  while (1)
  {
  }
}
